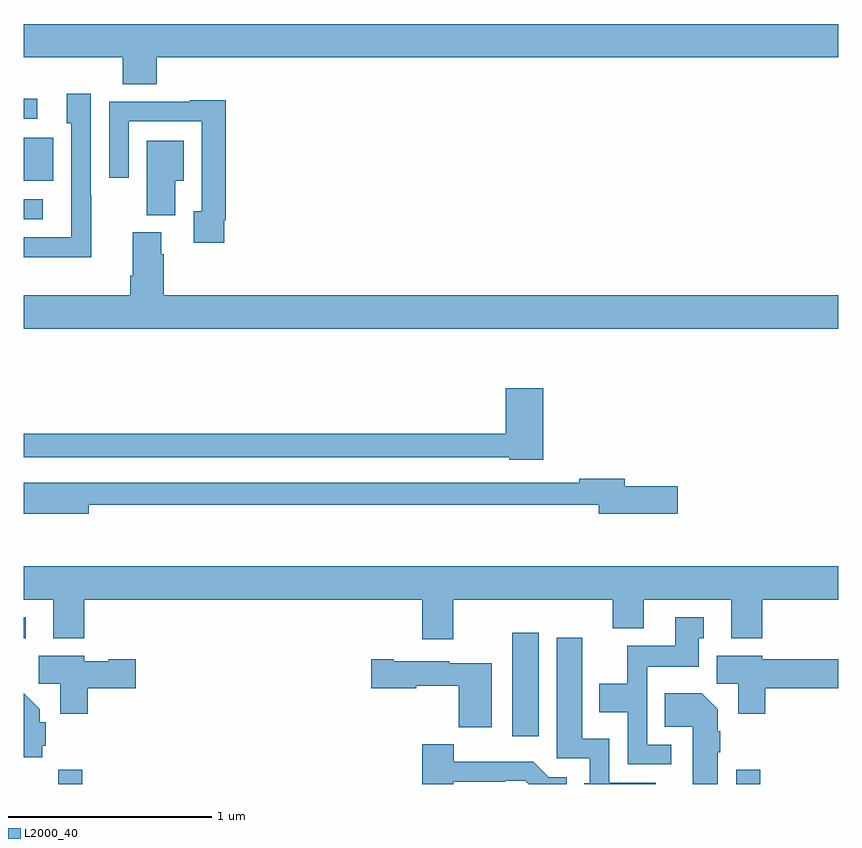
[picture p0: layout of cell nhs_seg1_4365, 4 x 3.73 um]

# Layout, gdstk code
import gdstk
lib = gdstk.Library(unit=1e-6, precision=1e-09)
def R(c, l, rs):  # rectangles x0, y0, x1, y1
    for r in rs: c.add(gdstk.rectangle(r[:2], r[2:], *l))
def P(c, l, *ps):  # polygons
    for p in ps: c.add(gdstk.Polygon(p, *l))
L2000_40 = (2000, 40)

nhs_seg1_4365 = lib.new_cell('nhs_seg1_4365')
R(nhs_seg1_4365, L2000_40, [(349.168,512.199,349.286,512.269), (352.5,512.199,352.616,512.269), (351.398,512.433,351.529,512.941), (349,512.916,349.009,513.019), (349,514.974,349.093,515.07), (349,515.162,349.144,515.373), (349,515.466,349.066,515.564)])
P(nhs_seg1_4365, L2000_40, [(349.652,515.768),(353,515.768),(353,515.932),(349,515.932),(349,515.768),(349.487,515.768),(349.487,515.635),(349.652,515.635)],
  [(349.331,515.09),(349.329,515.09),(349.329,515.59),(349.211,515.59),(349.211,515.445),(349.233,515.445),(349.233,514.884),(349,514.884),(349,514.787),(349.331,514.787)],
  [(349.984,514.969),(349.991,514.969),(349.991,515.557),(349.815,515.557),(349.815,515.55),(349.419,515.55),(349.419,515.178),(349.515,515.178),(349.515,515.454),(349.875,515.454),(349.875,515.013),(349.835,515.013),(349.835,514.857),(349.984,514.857)],
  [(349.744,515.162),(349.786,515.162),(349.786,515.359),(349.604,515.359),(349.604,514.993),(349.744,514.993)],
  [(353,514.6),(349.688,514.6),(349.688,514.802),(349.675,514.802),(349.675,514.908),(349.535,514.908),(349.535,514.696),(349.523,514.696),(349.523,514.6),(349,514.6),(349,514.436),(353,514.436)],
  [(351.551,514.144),(351.368,514.144),(351.368,513.92),(349,513.92),(349,513.804),(351.384,513.804),(351.384,513.791),(351.551,513.791)],
  [(349.318,513.57),(351.824,513.57),(351.824,513.527),(352.213,513.527),(352.213,513.662),(351.952,513.662),(351.952,513.698),(351.728,513.698),(351.728,513.678),(349,513.678),(349,513.527),(349.318,513.527)],
  [(351.109,513.104),(351.893,513.104),(351.893,512.963),(352.045,512.963),(352.045,513.104),(352.475,513.104),(352.475,512.915),(352.628,512.915),(352.628,513.104),(353,513.104),(353,513.268),(349,513.268),(349,513.104),(349.145,513.104),(349.145,512.915),(349.298,512.915),(349.298,513.104),(350.957,513.104),(350.957,512.91),(351.109,512.91)],
  [(352.18,512.391),(352.062,512.391),(352.062,512.774),(352.315,512.774),(352.315,512.916),(352.339,512.916),(352.339,513.019),(352.199,513.019),(352.199,512.878),(351.964,512.878),(351.964,512.692),(351.827,512.692),(351.827,512.552),(351.966,512.552),(351.966,512.295),(352.18,512.295)],
  [(352.105,512.206),(351.876,512.206),(351.876,512.422),(351.742,512.422),(351.742,512.917),(351.617,512.917),(351.617,512.325),(351.78,512.325),(351.78,512.202),(351.752,512.202),(351.752,512.199),(352.105,512.199)],
  [(352.643,512.669),(353,512.669),(353,512.811),(352.626,512.811),(352.626,512.83),(352.403,512.83),(352.403,512.692),(352.508,512.692),(352.508,512.544),(352.643,512.544)],
  [(349.313,512.669),(349.549,512.669),(349.549,512.811),(349.416,512.811),(349.416,512.803),(349.296,512.803),(349.296,512.83),(349.073,512.83),(349.073,512.692),(349.178,512.692),(349.178,512.544),(349.313,512.544)],
  [(351.298,512.791),(351.09,512.791),(351.09,512.803),(350.818,512.803),(350.818,512.811),(350.706,512.811),(350.706,512.669),(350.928,512.669),(350.928,512.681),(351.136,512.681),(351.136,512.477),(351.298,512.477)],
  [(352.408,512.356),(352.421,512.356),(352.421,512.459),(352.408,512.459),(352.408,512.566),(352.33,512.644),(352.147,512.644),(352.147,512.48),(352.286,512.48),(352.286,512.199),(352.408,512.199)],
  [(349.091,512.388),(349.108,512.388),(349.108,512.502),(349.078,512.502),(349.078,512.566),(349,512.644),(349,512.33),(349.091,512.33)],
  [(351.109,512.211),(351.365,512.211),(351.365,512.214),(351.464,512.214),(351.479,512.199),(351.667,512.199),(351.667,512.232),(351.579,512.232),(351.503,512.308),(351.112,512.308),(351.112,512.395),(350.957,512.395),(350.957,512.199),(351.109,512.199)])

lib.write_gds('nhs_seg1_4365.gds')
